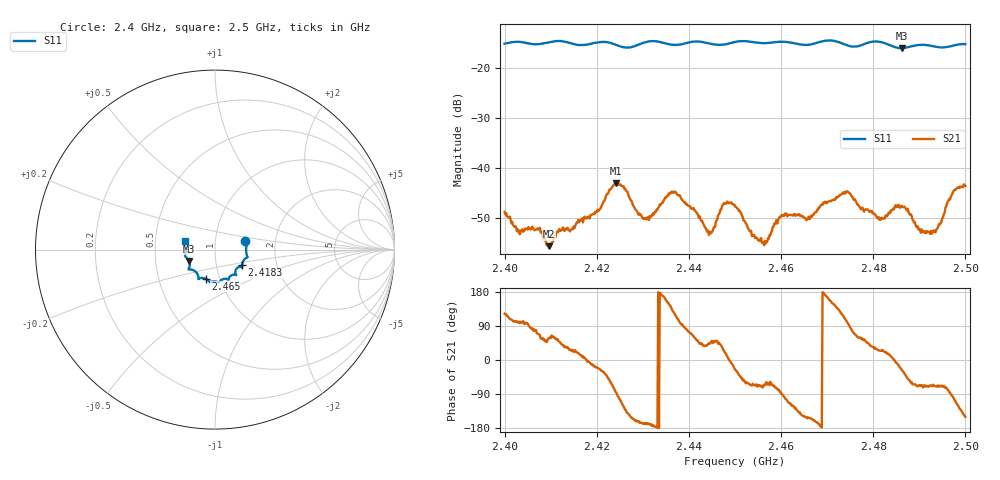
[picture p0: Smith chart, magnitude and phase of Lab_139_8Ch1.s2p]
# Hz S RI R 50
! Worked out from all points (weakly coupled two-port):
!   601 points, 2.4 GHz to 2.5 GHz, reference 50 ohm
!   highest |S21| = -43.01 dB at 2.4242 GHz (marker M1); lowest = -55.6 dB at 2.4097 GHz (marker M2)
!   lowest |S11| = -16.0 dB at 2.4862 GHz (marker M3), VSWR 1.37, Z = 37.1 - j4.81 ohm
!   |S11| at or under -10 dB: start of sweep to end of sweep
!   S12 and S22 are empty: the file has one direction only
!   S11 on the Smith chart (normalised r, x): 2.4 GHz: 1.40, +0.13; 2.4183 GHz: 1.33, -0.24; 2.465 GHz: 0.86, -0.29; 2.5 GHz: 0.71, +0.07
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2.4e9  0.1691 0.0461  -0.00195 0.00311  0 0  0 0
2.409667e9  0.178 -0.0327  0.000883 0.00141  0 0  0 0
2.416667e9  0.1551 -0.0682  0.00301 0.000655  0 0  0 0
2.418333e9  0.1501 -0.0869  0.00318 -0.000307  0 0  0 0
2.424167e9  0.1411 -0.0962  0.000578 -0.00705  0 0  0 0
2.430333e9  0.1147 -0.1384  -0.00306 -0.000708  0 0  0 0
2.433333e9  0.117 -0.1412  -0.004 6.11e-05  0 0  0 0
2.436833e9  0.0917 -0.1435  -0.00321 0.00483  0 0  0 0
2.4445e9  0.0649 -0.1631  0.00161 0.00151  0 0  0 0
2.447667e9  0.0377 -0.1677  0.00412 0.00179  0 0  0 0
2.45e9  0.0252 -0.1805  0.00375 -0.00173  0 0  0 0
2.456333e9  -0.00381 -0.1775  0.000721 -0.00154  0 0  0 0
2.46e9  -0.0277 -0.1815  8.46e-05 -0.00329  0 0  0 0
2.465e9  -0.0527 -0.1622  -0.00271 -0.00171  0 0  0 0
2.466667e9  -0.0712 -0.1576  -0.00295 -0.00138  0 0  0 0
2.474333e9  -0.0969 -0.138  -0.00106 0.0057  0 0  0 0
2.481167e9  -0.1478 -0.109  0.0028 0.00134  0 0  0 0
2.483333e9  -0.1421 -0.0959  0.00346 0.00101  0 0  0 0
2.486167e9  -0.1447 -0.0633  0.0038 -0.00181  0 0  0 0
2.493167e9  -0.1637 -0.0174  0.000908 -0.00222  0 0  0 0
2.4975e9  -0.1652 0.0318  -0.00126 -0.00585  0 0  0 0
2.5e9  -0.1669 0.0471  -0.00577 -0.00331  0 0  0 0
